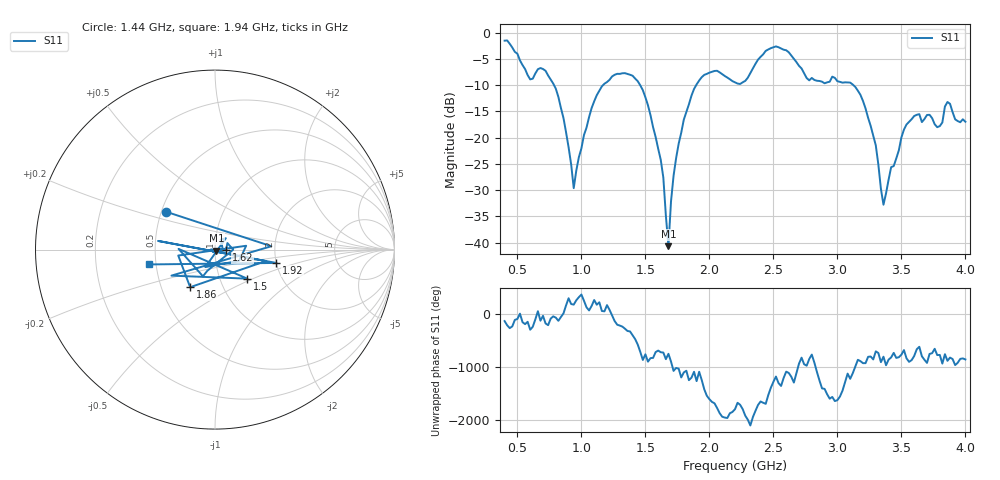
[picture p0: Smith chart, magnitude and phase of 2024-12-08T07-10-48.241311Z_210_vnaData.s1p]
!Created with skrf (http://scikit-rf.org).
# Hz S RI R 50.0
!freq ReS11 ImS11
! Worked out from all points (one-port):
!   181 points, 400 MHz to 4 GHz, reference 50 ohm
!   lowest |S11| = -40.7 dB at 1.68 GHz (marker M1), VSWR 1.02, Z = 50.8 - j0.514 ohm
!   |S11| at or under -10 dB: 786 MHz to 1.169 GHz (383.3 MHz wide, 39.2 % of centre); 1.459 GHz to 1.897 GHz (438.1 MHz wide, 26.1 % of centre); 3.125 GHz to end of sweep
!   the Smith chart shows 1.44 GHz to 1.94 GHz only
!   S11 on the Smith chart (normalised r, x): 1.44 GHz: 0.53, +0.25; 1.5 GHz: 1.35, -0.46; 1.62 GHz: 1.13, -0.01; 1.86 GHz: 0.70, -0.31; 1.92 GHz: 2.00, -0.34; 1.94 GHz: 0.46, -0.09
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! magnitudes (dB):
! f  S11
! 400 MHz  -1.5
! 600 MHz  -8.9
! 720 MHz  -7.3
! 860 MHz  -16.3
! 940 MHz  -29.6
! 1.1 GHz  -13.1
! 1.3 GHz  -7.9
! 1.44 GHz  -9.3
! 1.5 GHz  -12.3
! 1.62 GHz  -24.2
! 1.68 GHz  -40.7
! 1.72 GHz  -27.3
! 1.76 GHz  -21.2
! 1.86 GHz  -12.0
! 1.92 GHz  -9.1
! 1.94 GHz  -8.5
! 2.2 GHz  -9.5
! 2.48 GHz  -3.0
! 2.66 GHz  -5.0
! 2.78 GHz  -9.1
! 3.1 GHz  -9.5
! 3.26 GHz  -17.8
! 3.36 GHz  -32.8
! 3.42 GHz  -25.6
! 3.56 GHz  -17.0
! 3.8 GHz  -17.8
! 3.86 GHz  -13.2
! 4 GHz  -17.0
